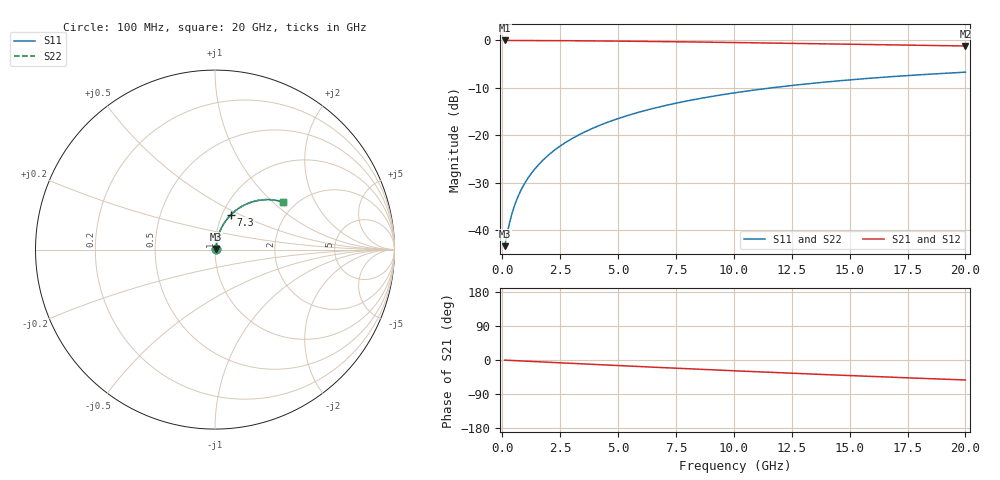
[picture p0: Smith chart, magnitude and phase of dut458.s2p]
! Touchstone file exported from HFSS 2026.1.0
!  File:  C:/ffzhzh/LocalFiles/Ansys_Project_Files/temp_train_BSMRDL_458_1783013436_51716.aedt
!  Generated:  01:31:54 AM Jul  3, 2026
!  Design:  BSMRDL
!  Project:  temp_train_BSMRDL_458_1783013436_51716
! Variables:
!  h_bsmrdl = 3.75um
!  h_ox = 20um
!  h_rdl = 5um
!  h_sub = 80um
!  h_tmrdl = 5um
!  h_tsv = 80um
!  h_via = 3um
!  l_bsmrdl = 822.84um
!  l_sub = 1222.84um
!  l_tmrdl = 200um
!  m_sub = 200um
!  pitch = 33.29um
!  r_tsv = 6um
!  s_tmrdl = 10um
!  w_bsmrdl = 13.05um
!  w_sub = 500um
!  w_tmrdl = 12um
!  x_tsv_center1 = 206um
!  x_tsv_center2 = 1041.89um
!  x_tsv_center3 = 1253.89um
!  x_tsv_center4 = 2089.78um
!  x_tsv_center5 = 2301.78um
!  x_tsv_center6 = 3137.67um
# GHz S MA R 50.000000
! Terminal data exported
! Port[1] = BSM_RDL1_1_T1
! Port[2] = BSM_RDL1_1_T2
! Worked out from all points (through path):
!   200 points, 100 MHz to 20 GHz, reference 50 ohm
!   highest |S21| = -0.05 dB at 100 MHz (marker M1); lowest = -1.2 dB at 20 GHz (marker M2)
!   group delay of S21, straight-line fit = 7.33 ps
!   lowest |S11| = -43.3 dB at 100 MHz (marker M3), VSWR 1.01, Z = 50.6 + j0.334 ohm
!   |S11| at or under -10 dB: start of sweep to 11.65 GHz
!   |S22| runs from -43.3 to -6.7 dB; largest |S21 - S12| = 2.7e-15
!   S11 on the Smith chart (normalised r, x): 100 MHz: 1.01, +0.01; 7.3 GHz: 1.10, +0.45; 20 GHz: 1.72, +1.16
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0.1  0.006841 28.9  0.994 -0.3  0.994 -0.3  0.006841 28.9
! Gamma 0 0 0 0
! Port Impedance 50 0 50 0
0.3  0.01168 56.7  0.9937 -0.9  0.9937 -0.9  0.01168 56.7
0.4  0.01453 62.5  0.9935 -1.2  0.9935 -1.2  0.01453 62.5
0.5  0.01745 66.3  0.9933 -1.5  0.9933 -1.5  0.01745 66.3
0.6  0.02039 68.9  0.9931 -1.8  0.9931 -1.8  0.02039 68.9
0.8  0.0263 72.2  0.9927 -2.4  0.9927 -2.4  0.0263 72.2
1  0.03225 74.1  0.9924 -3.0  0.9924 -3.0  0.03224 74.2
1.2  0.03822 75.4  0.9921 -3.6  0.9921 -3.6  0.03822 75.4
1.4  0.04421 76.1  0.9917 -4.2  0.9917 -4.2  0.04421 76.1
1.7  0.05321 76.7  0.9911 -5.1  0.9911 -5.1  0.05321 76.7
2.2  0.06822 76.8  0.9899 -6.5  0.9899 -6.5  0.06822 76.8
2.8  0.08615 76.1  0.9881 -8.3  0.9881 -8.3  0.08615 76.2
3.5  0.1068 74.9  0.9855 -10.4  0.9855 -10.4  0.1068 74.9
4.2  0.1272 73.4  0.9825 -12.4  0.9825 -12.4  0.1272 73.4
5  0.1501 71.4  0.9786 -14.7  0.9786 -14.7  0.1501 71.5
6.8  0.1994 66.8  0.9681 -19.7  0.9681 -19.7  0.1994 66.9
7.3  0.2125 65.5  0.9649 -21.1  0.9649 -21.1  0.2125 65.6
8.6  0.2455 62.2  0.956 -24.7  0.956 -24.7  0.2455 62.2
10.1  0.2815 58.3  0.9451 -28.7  0.9451 -28.7  0.2815 58.4
13.4  0.3524 50.2  0.9196 -37.1  0.9196 -37.1  0.3524 50.3
16.7  0.4122 42.4  0.8939 -45.2  0.8939 -45.2  0.4122 42.5
20  0.4611 35.1  0.8697 -52.7  0.8697 -52.7  0.4611 35.2
